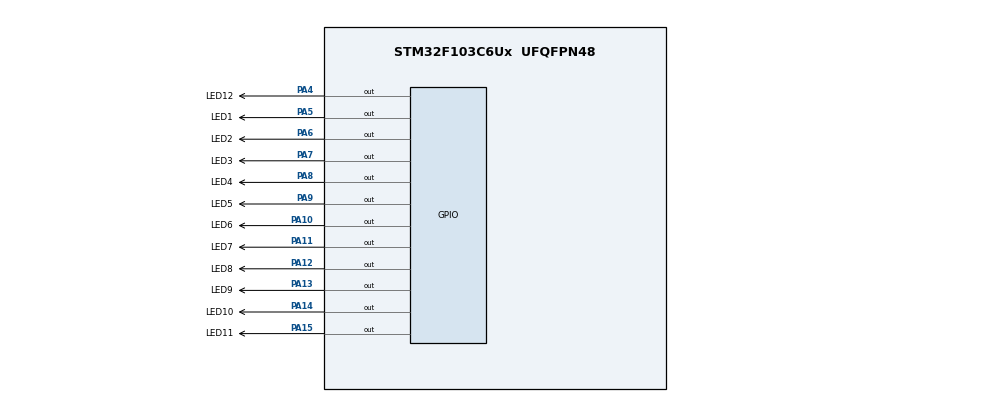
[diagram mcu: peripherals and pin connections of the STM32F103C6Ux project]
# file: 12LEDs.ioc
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Mcu.Family=STM32F1
Mcu.Name=STM32F103C6Ux
Mcu.Package=UFQFPN48
NVIC.PriorityGroup=NVIC_PRIORITYGROUP_4
PA10.GPIO_Label=LED6
PA10.Signal=GPIO_Output
PA11.GPIO_Label=LED7
PA11.Signal=GPIO_Output
PA12.GPIO_Label=LED8
PA12.Signal=GPIO_Output
PA13.GPIO_Label=LED9
PA13.Signal=GPIO_Output
PA14.GPIO_Label=LED10
PA14.Signal=GPIO_Output
PA15.GPIO_Label=LED11
PA15.Signal=GPIO_Output
PA4.GPIO_Label=LED12
PA4.Signal=GPIO_Output
PA5.GPIO_Label=LED1
PA5.Signal=GPIO_Output
PA6.GPIO_Label=LED2
PA6.Signal=GPIO_Output
PA7.GPIO_Label=LED3
PA7.Signal=GPIO_Output
PA8.GPIO_Label=LED4
PA8.Signal=GPIO_Output
PA9.GPIO_Label=LED5
PA9.Signal=GPIO_Output
ProjectManager.HeapSize=0x200
ProjectManager.StackSize=0x400
ProjectManager.TargetToolchain=STM32CubeIDE
RCC.APB1Freq_Value=8000000
RCC.APB2Freq_Value=8000000
VP_SYS_VS_ND.Mode=No_Debug
board=custom

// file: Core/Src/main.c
/* USER CODE BEGIN Header */
/**
  ******************************************************************************
  * @file           : main.c
  * @brief          : Main program body
  ******************************************************************************
  * @attention
  *
  * <h2><center>&copy; Copyright (c) 2023 STMicroelectronics.
  * All rights reserved.</center></h2>
  *
  * This software component is licensed by ST under BSD 3-Clause license,
  * the "License"; You may not use this file except in compliance with the
  * License. You may obtain a copy of the License at:
  *                        opensource.org/licenses/BSD-3-Clause
  *
  ******************************************************************************
  */
/* USER CODE END Header */
#include "main.h"

void SystemClock_Config(void);
static void MX_GPIO_Init(void);

/* USER CODE BEGIN 0 */
void clearAllClock(){
	HAL_GPIO_WritePin(LED1_GPIO_Port, LED1_Pin, SET);
	HAL_GPIO_WritePin(LED2_GPIO_Port, LED2_Pin, SET);
	HAL_GPIO_WritePin(LED3_GPIO_Port, LED3_Pin, SET);
	HAL_GPIO_WritePin(LED4_GPIO_Port, LED4_Pin, SET);
	HAL_GPIO_WritePin(LED5_GPIO_Port, LED5_Pin, SET);
	HAL_GPIO_WritePin(LED6_GPIO_Port, LED6_Pin, SET);
	HAL_GPIO_WritePin(LED7_GPIO_Port, LED7_Pin, SET);
	HAL_GPIO_WritePin(LED8_GPIO_Port, LED8_Pin, SET);
	HAL_GPIO_WritePin(LED9_GPIO_Port, LED9_Pin, SET);
	HAL_GPIO_WritePin(LED10_GPIO_Port, LED10_Pin, SET);
	HAL_GPIO_WritePin(LED11_GPIO_Port, LED11_Pin, SET);
	HAL_GPIO_WritePin(LED12_GPIO_Port, LED12_Pin, SET);
}

void setNumberOnClock(int num){
	switch(num){
	case 0:
	  HAL_GPIO_WritePin(LED12_GPIO_Port, LED12_Pin, RESET);
	  break;
	case 1:
	  HAL_GPIO_WritePin(LED1_GPIO_Port, LED1_Pin, RESET);
	  break;
	case 2:
	  HAL_GPIO_WritePin(LED2_GPIO_Port, LED2_Pin, RESET);
	  break;
	case 3:
	  HAL_GPIO_WritePin(LED3_GPIO_Port, LED3_Pin, RESET);
	  break;
	case 4:
	  HAL_GPIO_WritePin(LED4_GPIO_Port, LED4_Pin, RESET);
	  break;
	case 5:
	  HAL_GPIO_WritePin(LED5_GPIO_Port, LED5_Pin, RESET);
	  break;
	case 6:
	  HAL_GPIO_WritePin(LED6_GPIO_Port, LED6_Pin, RESET);
	  break;
	case 7:
	  HAL_GPIO_WritePin(LED7_GPIO_Port, LED7_Pin, RESET);
	  break;
	case 8:
	  HAL_GPIO_WritePin(LED8_GPIO_Port, LED8_Pin, RESET);
	  break;
	case 9:
	  HAL_GPIO_WritePin(LED9_GPIO_Port, LED9_Pin, RESET);
	  break;
	case 10:
	  HAL_GPIO_WritePin(LED10_GPIO_Port, LED10_Pin, RESET);
	  break;
	case 11:
	  HAL_GPIO_WritePin(LED11_GPIO_Port, LED11_Pin, RESET);
	  break;
	default:
	  break;
	}
}

void clearNumberOnClock(int num){
	switch(num){
	case 0:
	  HAL_GPIO_WritePin(LED12_GPIO_Port, LED12_Pin, SET);
	  break;
	case 1:
	  HAL_GPIO_WritePin(LED1_GPIO_Port, LED1_Pin, SET);
	  break;
	case 2:
	  HAL_GPIO_WritePin(LED2_GPIO_Port, LED2_Pin, SET);
	  break;
	case 3:
	  HAL_GPIO_WritePin(LED3_GPIO_Port, LED3_Pin, SET);
	  break;
	case 4:
	  HAL_GPIO_WritePin(LED4_GPIO_Port, LED4_Pin, SET);
	  break;
	case 5:
	  HAL_GPIO_WritePin(LED5_GPIO_Port, LED5_Pin, SET);
	  break;
	case 6:
	  HAL_GPIO_WritePin(LED6_GPIO_Port, LED6_Pin, SET);
	  break;
	case 7:
	  HAL_GPIO_WritePin(LED7_GPIO_Port, LED7_Pin, SET);
	  break;
	case 8:
	  HAL_GPIO_WritePin(LED8_GPIO_Port, LED8_Pin, SET);
	  break;
	case 9:
	  HAL_GPIO_WritePin(LED9_GPIO_Port, LED9_Pin, SET);
	  break;
	case 10:
	  HAL_GPIO_WritePin(LED10_GPIO_Port, LED10_Pin, SET);
	  break;
	case 11:
	  HAL_GPIO_WritePin(LED11_GPIO_Port, LED11_Pin, SET);
	  break;
	default:
	  break;
	}
}
/* USER CODE END 0 */

int main(void)
{

  /* MCU Configuration--------------------------------------------------------*/

  /* Reset of all peripherals, Initializes the Flash interface and the Systick. */
  HAL_Init();

  /* Configure the system clock */
  SystemClock_Config();

  /* Initialize all configured peripherals */
  MX_GPIO_Init();

  /* Infinite loop */
  /* USER CODE BEGIN WHILE */
  clearAllClock();
  int counter = 0;
  while (1)
  {
    /* USER CODE END WHILE */
	  switch(counter){
	  case 0:
		  HAL_GPIO_WritePin(LED11_GPIO_Port, LED11_Pin, SET);
		  HAL_GPIO_WritePin(LED12_GPIO_Port, LED12_Pin, RESET);
		  break;
	  case 1:
		  HAL_GPIO_WritePin(LED12_GPIO_Port, LED12_Pin, SET);
		  HAL_GPIO_WritePin(LED1_GPIO_Port, LED1_Pin, RESET);
		  break;
	  case 2:
		  HAL_GPIO_WritePin(LED1_GPIO_Port, LED1_Pin, SET);
		  HAL_GPIO_WritePin(LED2_GPIO_Port, LED2_Pin, RESET);
		  break;
	  case 3:
		  HAL_GPIO_WritePin(LED2_GPIO_Port, LED2_Pin, SET);
		  HAL_GPIO_WritePin(LED3_GPIO_Port, LED3_Pin, RESET);
		  break;
	  case 4:
		  HAL_GPIO_WritePin(LED3_GPIO_Port, LED3_Pin, SET);
		  HAL_GPIO_WritePin(LED4_GPIO_Port, LED4_Pin, RESET);
		  break;
	  case 5:
		  HAL_GPIO_WritePin(LED4_GPIO_Port, LED4_Pin, SET);
		  HAL_GPIO_WritePin(LED5_GPIO_Port, LED5_Pin, RESET);
		  break;
	  case 6:
		  HAL_GPIO_WritePin(LED5_GPIO_Port, LED5_Pin, SET);
		  HAL_GPIO_WritePin(LED6_GPIO_Port, LED6_Pin, RESET);
		  break;
	  case 7:
		  HAL_GPIO_WritePin(LED6_GPIO_Port, LED6_Pin, SET);
		  HAL_GPIO_WritePin(LED7_GPIO_Port, LED7_Pin, RESET);
		  break;
	  case 8:
		  HAL_GPIO_WritePin(LED7_GPIO_Port, LED7_Pin, SET);
		  HAL_GPIO_WritePin(LED8_GPIO_Port, LED8_Pin, RESET);
		  break;
	  case 9:
		  HAL_GPIO_WritePin(LED8_GPIO_Port, LED8_Pin, SET);
		  HAL_GPIO_WritePin(LED9_GPIO_Port, LED9_Pin, RESET);
		  break;
	  case 10:
		  HAL_GPIO_WritePin(LED9_GPIO_Port, LED9_Pin, SET);
		  HAL_GPIO_WritePin(LED10_GPIO_Port, LED10_Pin, RESET);
		  break;
	  case 11:
		  HAL_GPIO_WritePin(LED10_GPIO_Port, LED10_Pin, SET);
		  HAL_GPIO_WritePin(LED11_GPIO_Port, LED11_Pin, RESET);
		  break;
	  default:
		  break;
	  }

	  counter++;
	  if(counter == 12){
		  counter = 0;
	  }

	  HAL_Delay(1000);
  }
}

void SystemClock_Config(void)
{
  RCC_OscInitTypeDef RCC_OscInitStruct = {0};
  RCC_ClkInitTypeDef RCC_ClkInitStruct = {0};

  /** Initializes the RCC Oscillators according to the specified parameters
  * in the RCC_OscInitTypeDef structure.
  */
  RCC_OscInitStruct.OscillatorType = RCC_OSCILLATORTYPE_HSI;
  RCC_OscInitStruct.HSIState = RCC_HSI_ON;
  RCC_OscInitStruct.HSICalibrationValue = RCC_HSICALIBRATION_DEFAULT;
  RCC_OscInitStruct.PLL.PLLState = RCC_PLL_NONE;
  if (HAL_RCC_OscConfig(&RCC_OscInitStruct) != HAL_OK)
  {
    Error_Handler();
  }
  /** Initializes the CPU, AHB and APB buses clocks
  */
  RCC_ClkInitStruct.ClockType = RCC_CLOCKTYPE_HCLK|RCC_CLOCKTYPE_SYSCLK
                              |RCC_CLOCKTYPE_PCLK1|RCC_CLOCKTYPE_PCLK2;
  RCC_ClkInitStruct.SYSCLKSource = RCC_SYSCLKSOURCE_HSI;
  RCC_ClkInitStruct.AHBCLKDivider = RCC_SYSCLK_DIV1;
  RCC_ClkInitStruct.APB1CLKDivider = RCC_HCLK_DIV1;
  RCC_ClkInitStruct.APB2CLKDivider = RCC_HCLK_DIV1;

  if (HAL_RCC_ClockConfig(&RCC_ClkInitStruct, FLASH_LATENCY_0) != HAL_OK)
  {
    Error_Handler();
  }
}

static void MX_GPIO_Init(void)
{
  GPIO_InitTypeDef GPIO_InitStruct = {0};

  /* GPIO Ports Clock Enable */
  __HAL_RCC_GPIOA_CLK_ENABLE();

  /*Configure GPIO pin Output Level */
  HAL_GPIO_WritePin(GPIOA, LED12_Pin|LED1_Pin|LED2_Pin|LED3_Pin
                          |LED4_Pin|LED5_Pin|LED6_Pin|LED7_Pin
                          |LED8_Pin|LED9_Pin|LED10_Pin|LED11_Pin, GPIO_PIN_RESET);

  /*Configure GPIO pins : LED12_Pin LED1_Pin LED2_Pin LED3_Pin
                           LED4_Pin LED5_Pin LED6_Pin LED7_Pin
                           LED8_Pin LED9_Pin LED10_Pin LED11_Pin */
  GPIO_InitStruct.Pin = LED12_Pin|LED1_Pin|LED2_Pin|LED3_Pin
                          |LED4_Pin|LED5_Pin|LED6_Pin|LED7_Pin
                          |LED8_Pin|LED9_Pin|LED10_Pin|LED11_Pin;
  GPIO_InitStruct.Mode = GPIO_MODE_OUTPUT_PP;
  GPIO_InitStruct.Pull = GPIO_NOPULL;
  GPIO_InitStruct.Speed = GPIO_SPEED_FREQ_LOW;
  HAL_GPIO_Init(GPIOA, &GPIO_InitStruct);

}

void Error_Handler(void)
{
  __disable_irq();
  while (1)
  {
  }
}

/************************ (C) COPYRIGHT STMicroelectronics *****END OF FILE****/
